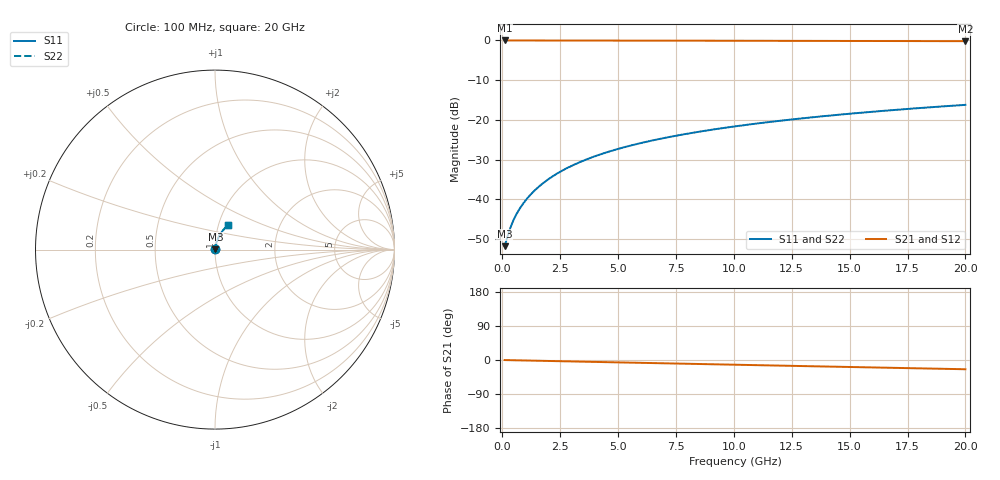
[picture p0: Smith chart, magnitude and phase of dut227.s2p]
! Touchstone file exported from HFSS 2026.1.0
!  File:  C:/ffzhzh/LocalFiles/Ansys_Project_Files/temp_train_TMRDL_227_1782984437_40604.aedt
!  Generated:  05:28:27 PM Jul  2, 2026
!  Design:  TMRDL
!  Project:  temp_train_TMRDL_227_1782984437_40604
! Variables:
!  h_bsmrdl = 2um
!  h_ox = 20um
!  h_rdl = 5um
!  h_sub = 80um
!  h_tmrdl = 3.98um
!  h_tsv = 80um
!  h_via = 3um
!  l_bsmrdl = 300um
!  l_sub = 797.3um
!  l_tmrdl = 397.3um
!  m_sub = 200um
!  pitch = 26.54um
!  r_tsv = 6um
!  s_tmrdl = 10um
!  w_bsmrdl = 18um
!  w_sub = 500um
!  w_tmrdl = 16.21um
!  x_tsv_center1 = 405.405um
!  x_tsv_center2 = 723.405um
!  x_tsv_center3 = 1136.915um
!  x_tsv_center4 = 1454.915um
!  x_tsv_center5 = 1868.425um
!  x_tsv_center6 = 2186.425um
# GHz S MA R 50.000000
! Terminal data exported
! Port[1] = TM_RDL1_1_T1
! Port[2] = TM_RDL1_1_T2
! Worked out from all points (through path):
!   200 points, 100 MHz to 20 GHz, reference 50 ohm
!   highest |S21| = -0.02 dB at 100 MHz (marker M1); lowest = -0.2 dB at 20 GHz (marker M2)
!   group delay of S21, straight-line fit = 3.38 ps
!   lowest |S11| = -51.8 dB at 100 MHz (marker M3), VSWR 1.01, Z = 50.2 + j0.107 ohm
!   |S11| at or under -10 dB: start of sweep to end of sweep
!   |S22| runs from -51.8 to -16.2 dB; largest |S21 - S12| = 4.5e-15
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0.1  0.002575 24.4  0.9977 -0.1  0.9977 -0.1  0.002575 24.4
! Gamma 0 0 0 0
! Port Impedance 50 0 50 0
0.3  0.003997 49.5  0.9974 -0.4  0.9974 -0.4  0.003996 49.8
0.4  0.004801 55.3  0.9973 -0.5  0.9973 -0.5  0.004807 55.6
0.5  0.005605 59.4  0.9972 -0.7  0.9972 -0.7  0.005618 59.7
0.6  0.006407 62.4  0.9971 -0.8  0.9971 -0.8  0.006425 62.7
0.8  0.008016 66.9  0.997 -1.0  0.997 -1.0  0.008039 67.1
1  0.009643 69.9  0.9969 -1.3  0.9969 -1.3  0.009666 70.1
1.2  0.01129 72.1  0.9968 -1.5  0.9968 -1.5  0.01131 72.2
1.4  0.01295 73.7  0.9967 -1.8  0.9967 -1.8  0.01297 73.8
1.7  0.01547 75.3  0.9966 -2.2  0.9966 -2.2  0.01548 75.4
2.2  0.01969 76.9  0.9963 -2.8  0.9963 -2.8  0.0197 76.9
2.8  0.02476 77.7  0.996 -3.6  0.996 -3.6  0.02477 77.7
3.5  0.03065 77.9  0.9955 -4.4  0.9955 -4.4  0.03065 77.9
4.2  0.03649 77.7  0.9949 -5.3  0.9949 -5.3  0.03649 77.7
5  0.04308 77.2  0.9942 -6.3  0.9942 -6.3  0.04308 77.2
5.9  0.05039 76.5  0.9933 -7.4  0.9933 -7.4  0.05039 76.4
6.8  0.05759 75.6  0.9925 -8.5  0.9925 -8.5  0.05759 75.6
8.3  0.06937 74.1  0.9909 -10.4  0.9909 -10.4  0.06938 74.1
10.1  0.0832 72.3  0.989 -12.6  0.989 -12.6  0.0832 72.2
13.4  0.1078 68.8  0.9853 -16.5  0.9853 -16.5  0.1078 68.8
16.7  0.1316 65.3  0.9814 -20.5  0.9814 -20.5  0.1316 65.2
20  0.1544 61.7  0.9773 -24.4  0.9773 -24.4  0.1544 61.6
